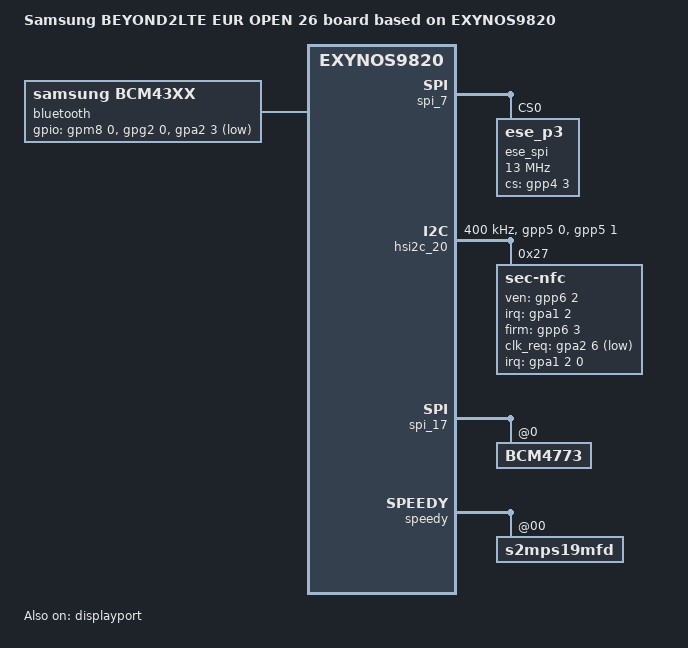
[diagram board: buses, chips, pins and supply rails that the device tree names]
/*
 * SAMSUNG EXYNOS9820 board device tree source
 *
 * Copyright (c) 2018 Samsung Electronics Co., Ltd.
 *		http://www.samsung.com
 *
 * This program is free software; you can redistribute it and/or modify
 * it under the terms of the GNU General Public License version 2 as
 * published by the Free Software Foundation.
*/

/dts-v1/;
/plugin/;
#include "exynos9820-sensorhub.dtsi"
#include "exynos9820-display-lcd.dtsi"
#include "battery_data_beyond2lte_19.dtsi"
#include "exynos9820-evt1-beyond2lte_motor.dtsi"
#include "exynos9820-evt1-beyond2lte_if-pmic-max77705.dtsi"
#include <dt-bindings/clock/exynos9820.h>
#include <dt-bindings/pci/pci.h>
#include "exynos9820-bootargs_ext.dtsi"
#include "exynos9820-beyond2lte_camera.dtsi"
#include "exynos9820-beyond2lte_common.dtsi"
#include "exynos9820-beyond2lte_fingerprint_00.dtsi"
#include "exynos9820-beyond2lte_eur_open_gpio_07.dtsi"
#include "exynos9820-beyond2lte_optics-r03.dtsi"

/ {
	compatible = "samsung,BEYOND2LTE EUR OPEN 26", "samsung,EXYNOS9820";
	dtbo-hw_rev = <26>;
   	dtbo-hw_rev_end = <255>;

	fragment@model {
		target-path = "/";
		__overlay__ {
			#address-cells = <2>;
			#size-cells = <1>;

			model = "Samsung BEYOND2LTE EUR OPEN 26 board based on EXYNOS9820";
			pinctrl@15850000 {
				bt_hostwake: bt-hostwake {
					samsung,pins = "gpa2-3";
					samsung,pin-function = <0>;
					samsung,pin-pud = <1>;
				};
			};
			pinctrl@10430000 {
				bt_btwake: bt-btwake {
					samsung,pins = "gpg2-0";
					samsung,pin-function = <1>;
					samsung,pin-pud = <0>;
					samsung,pin-con-pdn = <3>;
					samsung,pin-pud-pdn = <0>;
				};
			};

			pinctrl@15C30000 {
				bt_en: bt-en {
					samsung,pins = "gpm8-0";
					samsung,pin-function = <1>;
					samsung,pin-pud = <0>;
					samsung,pin-con-pdn = <3>;
					samsung,pin-pud-pdn = <0>;
				};
			};
			bluetooth {
				compatible = "samsung,bcm43xx";
				gpios = <&gpm8 0 0   /*BT_EN*/
				&gpg2 0 0    /*BT_WAKE*/
				&gpa2 3 0xF    /*BT_HOST_WAKE*/ >;
				pinctrl-names = "default";
				pinctrl-0=<&bt_hostwake &bt_btwake &bt_en>;
				status = "okay";
			};
		}; /* end of __overlay__ */
	}; /* end of fragment */
}; /* end of root */

&pinctrl_6 {
	spi7_bus_suspend: spi7-bus-suspend {
		samsung,pins = "gpp4-2", "gpp4-1", "gpp4-0";
		samsung,pin-function = <0>;	/* INPUT */
		samsung,pin-pud = <1>;		/* DOWN */
		samsung,pin-drv = <0>;
	};
	spi7_cs_suspend: spi7-cs-suspend {
		samsung,pins = "gpp4-3";
		samsung,pin-function = <0>;	/* INPUT */
		samsung,pin-pud = <1>;		/* DOWN */
		samsung,pin-drv = <0>;
	};
};

/* SPI USI_PERIC1_USI06_SPI */
&spi_7 {
	status = "okay";
	/delete-property/ pinctrl-names;
	/delete-property/ pinctrl-0;
	pinctrl-names = "ese_active", "ese_suspend";
	pinctrl-0 = <&spi7_bus &spi7_cs>;
	pinctrl-1 = <&spi7_bus_suspend &spi7_cs_suspend>;

	ese_spi@0 {
		compatible = "ese_p3";
		reg = <0>;
		spi-max-frequency = <13000000>;
		gpio-controller;
		#gpio-cells = <2>;

		p3-vdd-1p8= "VDD_ESE_1P8";

		clocks = <&clock GATE_USI06_USI>, <&clock DOUT_CLK_PERIC1_USI06_USI>;
		clock-names = "pclk", "sclk";
		ese_p3,cs-gpio = <&gpp4 3 0>;

		controller-data {
			samsung,spi-feedback-delay = <0>;
			samsung,spi-chip-select-mode = <0>;
		};
	};
};

&pinctrl_6 {
	nfc_en: nfc-en {
		samsung,pins = "gpp6-2";
		samsung,pin-function = <1>;
		samsung,pin-pud = <0>;
		samsung,pin-con-pdn = <3>;
		samsung,pin-pud-pdn = <0>;
		};

	nfc_firm: nfc-firm {
		samsung,pins = "gpp6-3";
		samsung,pin-function = <1>;
		samsung,pin-pud = <0>;
		samsung,pin-con-pdn = <3>;
		samsung,pin-pud-pdn = <0>;
		};
};

&hsi2c_20 {
	gpios = <&gpp5 0 0 &gpp5 1 0>;
	status = "okay";
	clock-frequency = <400000>;

	sec-nfc@27 {
		compatible = "sec-nfc";
		reg = <0x27>;

		interrupts = <2 0 0>;
		interrupt-parent = <&gpa1>;
		pinctrl-names = "default";
		pinctrl-0 = <&nfc_en &nfc_firm>;

		sec-nfc,ven-gpio = <&gpp6 2 0>;
		sec-nfc,irq-gpio = <&gpa1 2 0>;
		sec-nfc,firm-gpio = <&gpp6 3 0>;
		sec-nfc,clk_req-gpio = <&gpa2 6 0xf>;
		sec-nfc,clk_use = <2>;
		sec-nfc,nfc_pvdd = "VDD_NFC_1P8";

		clocks = <&clock OSC_NFC>;
		clock-names = "oscclk_nfc";
		sec-nfc,nfc_ap_clk;
		sec-nfc,ldo_control;
	};
};

&spi_17 {
	BCM4773@0 {
		ssp-acc-position = <4>;
		ssp-mag-position = <7>;
		ssp-mag-array = /bits/ 8 <193 82 169 237 158 66 0 53 212 56 205 152 167 141 1 203 255 180 190
					156 193 252 127 100 12 238 212>;
		ssp-thermi-up = /bits/ 16 <3022 2992 2954 2907 2849 2776 2694 2592 2471 2343 2196 2054 1893 1730
					1565 1399 1249 1107 1008 882 771 673 596>;
		ssp-thermi-sub = /bits/ 16 <3015 2985 2949 2905 2843 2772 2685 2581 2461 2334 2187 2043 1889 1722
					1560 1390 1242 1100 999 873 763 672 589>;
	};
};

&pinctrl_2 {
		shub_ap_int_copr: shub-ap-int-copr {
			samsung,pins = "gpm9-0";
			samsung,pin-function = <0>;
			samsung,pin-pud = <0>;
			samsung,pin-drv = <0>;
		};
};

&pinctrl_5 {
	aux_oe: aux-oe {
		samsung,pins = "gpg1-6";
		samsung,pin-function = <1>;
		samsung,pin-pud = <0>;
		samsung,pin-con-pdn = <3>;
		samsung,pin-pud-pdn = <0>;
		};

	sbu_sel: sbu-sel {
		samsung,pins = "gpg4-0";
		samsung,pin-function = <1>;
		samsung,pin-pud = <0>;
		samsung,pin-con-pdn = <3>;
		samsung,pin-pud-pdn = <0>;
		};
};

&displayport {
	status = "okay";
	dp,aux_sw_oe = <&gpg1 6 0>;
	dp,sbu_sw_sel = <&gpg4 0 0>;
	dp,usb_con_sel = <&gpg0 4 0>;

	pinctrl-names = "default";
	pinctrl-0 = <&aux_oe &sbu_sel>;
};

&speedy {
	s2mps19mfd@00 {
		smpl_warn_en = <1>; /* 1 : enable , 0 : disable */
		smpl_warn_dev2= <1>;
	};
};
